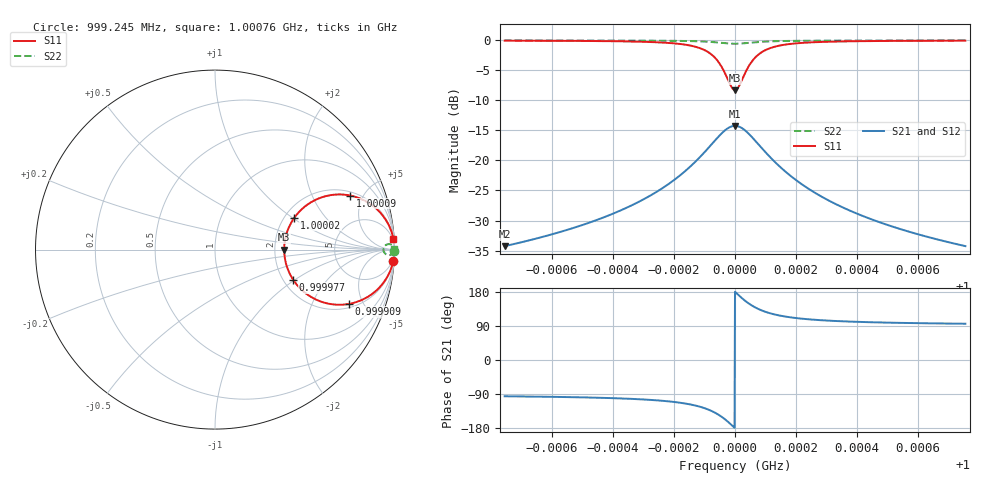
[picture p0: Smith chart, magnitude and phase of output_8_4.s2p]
! File generated for n1 = 8, n2 = 4
! b1 = 0.464159
! b2 = 0.046416
! Q0 = 10000.000000
! f0 = 1000000000.000000
! n = 1001
! rel_span = 10.000000
# Hz S RI R 50
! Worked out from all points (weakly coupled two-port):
!   1001 points, 999.245 MHz to 1.00076 GHz, reference 50 ohm
!   highest |S21| = -14.23 dB at 1 GHz (marker M1); lowest = -34.3 dB at 999.245 MHz (marker M2)
!   lowest |S11| = -8.3 dB at 1 GHz (marker M3), VSWR 2.25, Z = 113 + j0 ohm
!   |S11| at or under -10 dB: nowhere
!   |S22| runs from -0.6 to 0.0 dB; largest |S21 - S12| = 0
!   S11 on the Smith chart (normalised r, x): 999.245 MHz: 2, -33; 999.909 MHz: 2.25, -3.91; 999.977 MHz: 2.25, -0.98; 1.00002 GHz: 2.25, +1.04; 1.00009 GHz: 2.25, +3.97; 1.00076 GHz: 2, +33
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9.992447e8  0.9939 -0.0608  -0.00192 -0.0192  -0.00192 -0.0192  0.9994 -0.00608
9.99497e8  0.9865 -0.0902  -0.00428 -0.0285  -0.00428 -0.0285  0.9986 -0.00902
9.99636e8  0.9746 -0.1222  -0.00802 -0.0386  -0.00802 -0.0386  0.9975 -0.0122
9.997492e8  0.9489 -0.1697  -0.0162 -0.0537  -0.0162 -0.0537  0.9949 -0.017
9.998459e8  0.881 -0.2429  -0.0376 -0.0768  -0.0376 -0.0768  0.9881 -0.0243
9.998807e8  0.8242 -0.2777  -0.0556 -0.0878  -0.0556 -0.0878  0.9824 -0.0278
9.999094e8  0.7482 -0.3022  -0.0796 -0.0956  -0.0796 -0.0956  0.9748 -0.0302
9.999471e8  0.5876 -0.2887  -0.1304 -0.0913  -0.1304 -0.0913  0.9588 -0.0289
9.999622e8  0.5084 -0.2458  -0.1555 -0.0777  -0.1555 -0.0777  0.9508 -0.0246
9.999773e8  0.4362 -0.1691  -0.1783 -0.0535  -0.1783 -0.0535  0.9436 -0.0169
9.999909e8  0.3942 -0.0727  -0.1916 -0.023  -0.1916 -0.023  0.9394 -0.00727
1e9  0.3855 0  -0.1943 0  -0.1943 0  0.9385 0
1.000011e9  0.3973 0.0844  -0.1906 0.0267  -0.1906 0.0267  0.9397 0.00844
1.000024e9  0.4425 0.1784  -0.1763 0.0564  -0.1763 0.0564  0.9443 0.0178
1.000053e9  0.5875 0.2887  -0.1304 0.0913  -0.1304 0.0913  0.9588 0.0289
1.000092e9  0.753 0.3013  -0.0781 0.0953  -0.0781 0.0953  0.9753 0.0301
1.000121e9  0.8274 0.2762  -0.0546 0.0873  -0.0546 0.0873  0.9827 0.0276
1.000156e9  0.8828 0.2414  -0.0371 0.0764  -0.0371 0.0764  0.9883 0.0241
1.000252e9  0.9494 0.1689  -0.016 0.0534  -0.016 0.0534  0.9949 0.0169
1.000366e9  0.9748 0.1218  -0.00796 0.0385  -0.00796 0.0385  0.9975 0.0122
1.000505e9  0.9865 0.09  -0.00426 0.0285  -0.00426 0.0285  0.9987 0.009
1.000755e9  0.9939 0.0609  -0.00193 0.0192  -0.00193 0.0192  0.9994 0.00609
